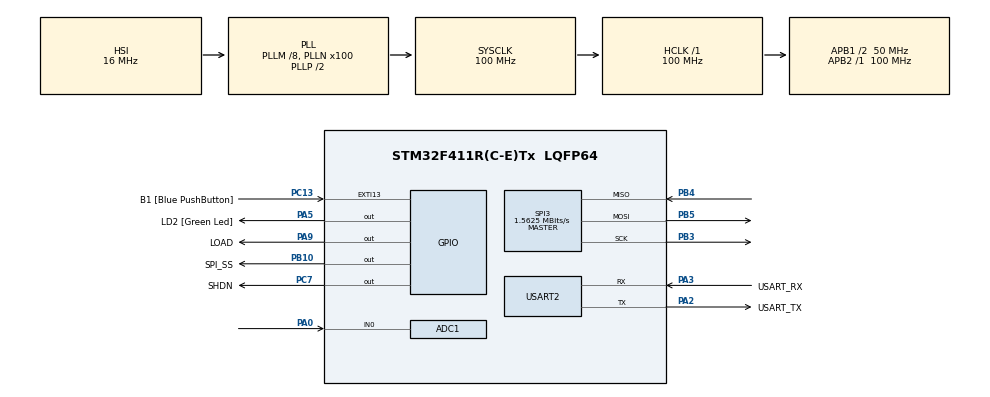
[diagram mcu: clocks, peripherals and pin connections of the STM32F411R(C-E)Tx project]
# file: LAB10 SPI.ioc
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Mcu.Family=STM32F4
RCC.CortexFreq_Value=100000000
SPI3.Direction=SPI_DIRECTION_2LINES
SPI3.VirtualType=VM_MASTER
PA14.GPIO_Label=TCK
RCC.SYSCLKSource=RCC_SYSCLKSOURCE_PLLCLK
ProjectManager.StackSize=0x400
NVIC.ADC_IRQn=true\:0\:0\:false\:false\:true\:true\:true
PH0\ -\ OSC_IN.Signal=RCC_OSC_IN
RCC.HCLKFreq_Value=100000000
RCC.APB2TimFreq_Value=100000000
TIM3.Period=100
Dma.ADC1.0.Direction=DMA_PERIPH_TO_MEMORY
PC7.Signal=GPIO_Output
NVIC.DMA2_Stream0_IRQn=true\:0\:0\:false\:false\:true\:false\:true
Dma.ADC1.0.MemDataAlignment=DMA_MDATAALIGN_HALFWORD
RCC.AHBFreq_Value=100000000
SPI3.DataSize=SPI_DATASIZE_16BIT
ADC1.Channel-0\#ChannelRegularConversion=ADC_CHANNEL_0
RCC.HSE_VALUE=8000000
PB3.Mode=Full_Duplex_Master
PC13-ANTI_TAMP.Signal=GPXTI13
PB4.Mode=Full_Duplex_Master
PC14-OSC32_IN.Mode=LSE-External-Oscillator
PA14.Mode=Serial_Wire
TIM3.Prescaler=99
Dma.ADC1.0.PeriphInc=DMA_PINC_DISABLE
PB5.Mode=Full_Duplex_Master
SH.ADCx_IN0.0=ADC1_IN0,IN0
ADC1.SamplingTime-0\#ChannelRegularConversion=ADC_SAMPLETIME_3CYCLES
RCC.FLatency-AdvancedSettings=FLASH_LATENCY_3
Mcu.Package=LQFP64
TIM2.Prescaler=99
SPI3.Mode=SPI_MODE_MASTER
USART2.VirtualMode=VM_ASYNC
PA2.GPIO_Label=USART_TX
NVIC.SPI3_IRQn=true\:0\:0\:false\:false\:true\:true\:true
RCC.APB1TimFreq_Value=100000000
Dma.ADC1.0.FIFOMode=DMA_FIFOMODE_DISABLE
Dma.Request0=ADC1
VP_TIM3_VS_ClockSourceINT.Mode=Internal
PB4.Signal=SPI3_MISO
PA3.Signal=USART2_RX
PC15-OSC32_OUT.Mode=LSE-External-Oscillator
Dma.ADC1.0.Instance=DMA2_Stream0
ADC1.Rank-0\#ChannelRegularConversion=1
PC13-ANTI_TAMP.GPIO_Label=B1 [Blue PushButton]
PA9.GPIO_Label=LOAD
PH1\ -\ OSC_OUT.Mode=HSE-External-Clock-Source
RCC.APB1CLKDivider=RCC_HCLK_DIV2
PC14-OSC32_IN.Signal=RCC_OSC32_IN
NVIC.USART2_IRQn=true\:0\:0\:false\:false\:true\:true\:true
PA0-WKUP.Signal=ADCx_IN0
PA13.Signal=SYS_JTMS-SWDIO
PA3.Mode=Asynchronous
Dma.ADC1.0.PeriphDataAlignment=DMA_PDATAALIGN_HALFWORD
PH0\ -\ OSC_IN.Mode=HSE-External-Clock-Source
ProjectManager.TargetToolchain=STM32CubeIDE
PB10.GPIO_Label=SPI_SS
Dma.ADC1.0.Mode=DMA_CIRCULAR
Dma.ADC1.0.Priority=DMA_PRIORITY_LOW
PA9.Signal=GPIO_Output
PC15-OSC32_OUT.Signal=RCC_OSC32_OUT
PB10.Signal=GPIO_Output
PA5.Signal=GPIO_Output
PH1\ -\ OSC_OUT.Signal=RCC_OSC_OUT
board=NUCLEO-F411RE
RCC.VCOOutputFreq_Value=200000000
RCC.APB2Freq_Value=100000000
SPI3.CalculateBaudRate=1.5625 MBits/s
VP_TIM2_VS_ClockSourceINT.Mode=Internal
SPI3.BaudRatePrescaler=SPI_BAUDRATEPRESCALER_32
PA13.Mode=Serial_Wire
Mcu.Name=STM32F411R(C-E)Tx
PA13.GPIO_Label=TMS
PA2.Signal=USART2_TX
PC7.GPIO_Label=SHDN
RCC.48MHZClocksFreq_Value=50000000
PB3.Signal=SPI3_SCK
RCC.SYSCLKFreq_VALUE=100000000
PB5.Signal=SPI3_MOSI
ADC1.master=1
PA5.GPIO_Label=LD2 [Green Led]
PC13-ANTI_TAMP.GPIO_ModeDefaultEXTI=GPIO_MODE_IT_FALLING
PA14.Signal=SYS_JTCK-SWCLK
Dma.ADC1.0.MemInc=DMA_MINC_ENABLE
ProjectManager.HeapSize=0x200
RCC.HSI_VALUE=16000000
NVIC.PriorityGroup=NVIC_PRIORITYGROUP_0
ADC1.NbrOfConversionFlag=1
RCC.PLLM=8
RCC.PLLN=100
PA2.Mode=Asynchronous
RCC.APB1Freq_Value=50000000
PA3.GPIO_Label=USART_RX

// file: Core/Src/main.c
/* USER CODE BEGIN Header */
/**
 ******************************************************************************
 * @file           : main.c
 * @brief          : Main program body
 ******************************************************************************
 * @attention
 *
 * <h2><center>&copy; Copyright (c) 2021 STMicroelectronics.
 * All rights reserved.</center></h2>
 *
 * This software component is licensed by ST under BSD 3-Clause license,
 * the "License"; You may not use this file except in compliance with the
 * License. You may obtain a copy of the License at:
 *                        opensource.org/licenses/BSD-3-Clause
 *
 ******************************************************************************
 */
/* USER CODE END Header */
#include "main.h"

/* USER CODE BEGIN Includes */
#include <math.h>
#include <stdio.h>
#include <string.h>
/* USER CODE END Includes */

ADC_HandleTypeDef hadc1;
DMA_HandleTypeDef hdma_adc1;

SPI_HandleTypeDef hspi3;

TIM_HandleTypeDef htim2;
TIM_HandleTypeDef htim3;

UART_HandleTypeDef huart2;

/* USER CODE BEGIN PV */

char RxDataBuffer[32] = { 0 };
int state = 0;
double Frequency = 1.0;
double High = 3.3; //max 3.3 V
double Low = 0.0; //min 0 V
int DutyCycle = 100;
int Slope = 0;
int WaveForm = 0;
double WaveGenOut = 0.0;
double Theta = 0;
int check = 0;
int check2 = 0;

char Word1[] = {" Choose Wave Form\r\n SawTooth Wave : Press a\r\n Sine Wave : Press b\r\n Square : Press c \r\n"};
char Word2[] = {" SawTooth Wave Menu\r\n Set Frequency : Press f\r\n Set Highest Voltage : Press h\r\n Set Lowest Voltage : Press l\r\n Set Slope : Press s\r\n Back : Press x\r\n"};
char Word3[] = {" Sine Wave Menu\r\n Set Frequency : Press f\r\n Set Highest Voltage : Press h\r\n Set Lowest Voltage : Press l\r\n Back : Press x\r\n"};
char Word4[] = {" Square Wave Menu\r\n Set Frequency : Press f\r\n Set Highest Voltage : Press h\r\n Set Lowest Voltage : Press l\r\n Set Duty Cycle : Press d\r\n Back : Press x\r\n"};
char Word5[] = {" Set Frequency Menu\r\n Increase Frequency 0.1Hz : Press +\r\n Decrease Frequency 0.1Hz : Press -\r\n Back : Press x\r\n"};
char Word6[] = {" Set Highest Voltage Menu\r\n Increase Highest Voltage 0.1V : Press +\r\n Decrease Highest Voltage 0.1V : Press -\r\n Back : Press x\r\n"};
char Word7[] = {" Set Lowest Voltage Menu\r\n Increase Lowest Voltage 0.1V : Press +\r\n Decrease Lowest Voltage 0.1V : Press -\r\n Back : Press x\r\n"};
char Word8[] = {" Set Slope Menu\r\n Slope Up : Press 1\r\n Slope Down : Press 2\r\n Back : Press x\r\n"};
char Word9[] = {" Set Duty Cycle\r\n Increase Duty Cycle For 5% : Press +\r\n Decrease Duty Cycle For 5% : Press -\r\n Back : Press x\r\n"};
char Word11[] = {" Slope Up | Increasing Slope\r\n"};
char Word12[] = {" Slope Down | Decreasing Slope\r\n"};
char Word13[] = {" Back\r\n"};
char WordError[] = {"Error : Highest Voltage Can't Less Than Lowest Voltage\r\n"};

char ShowFrequency[32] = {0}; //Frequency
char ShowDutyCycle[32] = {0}; //Duty cycle
char ShowVoltage[64] = {0}; //High | Low

uint16_t ADCin = 0;
uint64_t _micro = 0;
uint16_t dataOut = 0;
uint8_t DACConfig = 0b0011;
/* USER CODE END PV */

void SystemClock_Config(void);
static void MX_GPIO_Init(void);
static void MX_DMA_Init(void);
static void MX_USART2_UART_Init(void);
static void MX_SPI3_Init(void);
static void MX_ADC1_Init(void);
static void MX_TIM3_Init(void);
static void MX_TIM2_Init(void);
/* USER CODE BEGIN PFP */

int16_t UARTRecieveIT();
void MCP4922SetOutput(uint8_t Config, uint16_t DACOutput);
uint64_t micros();

/* USER CODE END PFP */

int main(void)
{

  /* MCU Configuration--------------------------------------------------------*/

  /* Reset of all peripherals, Initializes the Flash interface and the Systick. */
  HAL_Init();

  /* Configure the system clock */
  SystemClock_Config();

  /* Initialize all configured peripherals */
  MX_GPIO_Init();
  MX_DMA_Init();
  MX_USART2_UART_Init();
  MX_SPI3_Init();
  MX_ADC1_Init();
  MX_TIM3_Init();
  MX_TIM2_Init();
  /* USER CODE BEGIN 2 */

	HAL_TIM_Base_Start(&htim3);
	HAL_TIM_Base_Start_IT(&htim2);
	HAL_ADC_Start_DMA(&hadc1, (uint32_t*) &ADCin, 1);

	HAL_GPIO_WritePin(LOAD_GPIO_Port, LOAD_Pin, GPIO_PIN_RESET);

  /* USER CODE END 2 */

  /* Infinite loop */
  /* USER CODE BEGIN WHILE */
	while (1)
	{

		HAL_UART_Receive_IT(&huart2,  (uint8_t*)RxDataBuffer, 32);
		int16_t inputchar = UARTRecieveIT();
		switch(state)
		{
			case 0: //menu
			{
				HAL_UART_Transmit(&huart2, (uint8_t*)Word1, strlen(Word1), 1000);
				state = 1;
				break;
			}
			case 1: //choose wave form
			{
				if(inputchar == 'a') //sawtooth wave
				{
					HAL_UART_Transmit(&huart2, (uint8_t*)Word2, strlen(Word2), 1000);
					state = 2;
					WaveForm = 1;
					break;
				}
				else if(inputchar == 'b') //sine wave
				{
					HAL_UART_Transmit(&huart2, (uint8_t*)Word3, strlen(Word3), 1000);
					state = 3;
					WaveForm = 2;
					break;
				}
				else if(inputchar == 'c') //square wave
				{
					HAL_UART_Transmit(&huart2, (uint8_t*)Word4, strlen(Word4), 1000);
					state = 4;
					WaveForm = 3;
					break;
				}
				break;
			}
			case 2: //sawtooth wave menu
			{
				if(inputchar == 'f') //frequency
				{
					state = 5;
					HAL_UART_Transmit(&huart2, (uint8_t*)Word5, strlen(Word5), 1000);
					break;
				}
				else if(inputchar == 'h') //set high
				{
					state = 6;
					HAL_UART_Transmit(&huart2, (uint8_t*)Word6, strlen(Word6), 1000);
					break;
				}
				else if(inputchar == 'l') //set low
				{
					state = 7;
					HAL_UART_Transmit(&huart2, (uint8_t*)Word7, strlen(Word7), 1000);
					break;
				}
				else if(inputchar == 's') //slope
				{
					state = 8;
					HAL_UART_Transmit(&huart2, (uint8_t*)Word8, strlen(Word8), 1000);
					break;
				}
				else if(inputchar == 'x') //back
				{
					state = 0;
					HAL_UART_Transmit(&huart2, (uint8_t*)Word13, strlen(Word13), 1000);
					break;
				}
				break;
			}
			case 3: //sine wave menu
			{
				if(inputchar == 'f') //frequency
				{
					state = 5;
					HAL_UART_Transmit(&huart2, (uint8_t*)Word5, strlen(Word5), 1000);
					break;
				}
				else if(inputchar == 'h') //set high
				{
					state = 6;
					HAL_UART_Transmit(&huart2, (uint8_t*)Word6, strlen(Word6), 1000);
					break;
				}
				else if(inputchar == 'l') //set low
				{
					state = 7;
					HAL_UART_Transmit(&huart2, (uint8_t*)Word7, strlen(Word7), 1000);
					break;
				}
				else if(inputchar == 'x') //back
				{
					state = 0;
					HAL_UART_Transmit(&huart2, (uint8_t*)Word13, strlen(Word13), 1000);
					break;
				}
				break;
			}
			case 4: //square wave menu
			{
				if(inputchar == 'f') //frequency
				{
					state = 5;
					HAL_UART_Transmit(&huart2, (uint8_t*)Word5, strlen(Word5), 1000);
					break;
				}
				else if(inputchar == 'h') //set high
				{
					state = 6;
					HAL_UART_Transmit(&huart2, (uint8_t*)Word6, strlen(Word6), 1000);
					break;
				}
				else if(inputchar == 'l') //set low
				{
					state = 7;
					HAL_UART_Transmit(&huart2, (uint8_t*)Word7, strlen(Word7), 1000);
					break;
				}
				else if(inputchar == 'd') //duty cycle
				{
					state = 9;
					HAL_UART_Transmit(&huart2, (uint8_t*)Word9, strlen(Word9), 1000);
					break;
				}
				else if(inputchar == 'x') //back
				{
					state = 0;
					HAL_UART_Transmit(&huart2, (uint8_t*)Word13, strlen(Word13), 1000);
					break;
				}
				break;
			}
			case 5: //frequency menu
			{
				if(inputchar == '+')
				{
					Frequency += 0.1;
					if(Frequency > 10)
					{
						Frequency = 10;
					}
					sprintf(ShowFrequency, "Current Frequency : %f Hz\r\n", Frequency);
					HAL_UART_Transmit(&huart2, (uint8_t*)ShowFrequency, strlen(ShowFrequency), 1000);
					break;
				}
				else if(inputchar == '-')
				{
					Frequency -= 0.1;
					if(Frequency < 0)
					{
						Frequency = 0;
					}
					sprintf(ShowFrequency, "Current Frequency : %f Hz\r\n", Frequency);
					HAL_UART_Transmit(&huart2, (uint8_t*)ShowFrequency, strlen(ShowFrequency), 1000);
					break;
				}
				else if(inputchar == 'x') //back
				{
					if(WaveForm == 1)
					{
						state = 2;
						HAL_UART_Transmit(&huart2, (uint8_t*)Word13, strlen(Word13), 1000);
						HAL_UART_Transmit(&huart2, (uint8_t*)Word2, strlen(Word2), 1000);
					}
					else if(WaveForm == 2)
					{
						state = 3;
						HAL_UART_Transmit(&huart2, (uint8_t*)Word13, strlen(Word13), 1000);
						HAL_UART_Transmit(&huart2, (uint8_t*)Word3, strlen(Word3), 1000);
					}
					if(WaveForm == 3)
					{
						state = 4;
						HAL_UART_Transmit(&huart2, (uint8_t*)Word13, strlen(Word13), 1000);
						HAL_UART_Transmit(&huart2, (uint8_t*)Word4, strlen(Word4), 1000);
					}
					break;
				}
				break;
			}
			case 6: //high menu
			{
				if(inputchar == '+')
				{
					High += 0.1;
					if(High > 3.3)
					{
						High = 3.3;
					}
					sprintf(ShowVoltage, " High Voltage : %f V | Low Voltage : %f V  \r\n" , High , Low);
					HAL_UART_Transmit(&huart2, (uint8_t*)ShowVoltage, strlen(ShowVoltage), 1000);
					break;
				}
				else if(inputchar == '-')
				{
					High -= 0.1;
					if(High < 0)
					{
						High = 0;
					}
					if(High < Low)
					{
						High += 0.1;
						HAL_UART_Transmit(&huart2, (uint8_t*)WordError, strlen(WordError), 1000);
					}
					sprintf(ShowVoltage, " High Voltage : %f V | Low Voltage : %f V \r\n" , High , Low);
					HAL_UART_Transmit(&huart2, (uint8_t*)ShowVoltage, strlen(ShowVoltage), 1000);
					break;
				}
				else if(inputchar == 'x') //back
				{
					if(WaveForm == 1)
					{
						state = 2;
						HAL_UART_Transmit(&huart2, (uint8_t*)Word13, strlen(Word13), 1000);
						HAL_UART_Transmit(&huart2, (uint8_t*)Word2, strlen(Word2), 1000);
					}
					else if(WaveForm == 2)
					{
						state = 3;
						HAL_UART_Transmit(&huart2, (uint8_t*)Word13, strlen(Word13), 1000);
						HAL_UART_Transmit(&huart2, (uint8_t*)Word3, strlen(Word3), 1000);
					}
					if(WaveForm == 3)
					{
						state = 4;
						HAL_UART_Transmit(&huart2, (uint8_t*)Word13, strlen(Word13), 1000);
						HAL_UART_Transmit(&huart2, (uint8_t*)Word4, strlen(Word4), 1000);
					}
					break;
				}
				break;
			}
			case 7: //low menu
			{
				if(inputchar == '+')
				{
					Low += 0.1;
					if(Low > High + 0.1)
					{
						Low -= 0.1;
						HAL_UART_Transmit(&huart2, (uint8_t*)WordError, strlen(WordError), 1000);
					}
					sprintf(ShowVoltage, " High Voltage : %f V | Low Voltage : %f V \r\n" , High , Low);
					HAL_UART_Transmit(&huart2, (uint8_t*)ShowVoltage, strlen(ShowVoltage), 1000);
					break;
				}
				else if(inputchar == '-')
				{
					Low -= 0.1;
					if(Low < 0)
					{
						Low = 0;
					}
					sprintf(ShowVoltage, " High Voltage : %f V | Low Voltage : %f V \r\n" , High , Low);
					HAL_UART_Transmit(&huart2, (uint8_t*)ShowVoltage, strlen(ShowVoltage), 1000);
					break;
				}
				else if(inputchar == 'x') //back
				{
					if(WaveForm == 1)
					{
						state = 2;
						HAL_UART_Transmit(&huart2, (uint8_t*)Word13, strlen(Word13), 1000);
						HAL_UART_Transmit(&huart2, (uint8_t*)Word2, strlen(Word2), 1000);
					}
					else if(WaveForm == 2)
					{
						state = 3;
						HAL_UART_Transmit(&huart2, (uint8_t*)Word13, strlen(Word13), 1000);
						HAL_UART_Transmit(&huart2, (uint8_t*)Word3, strlen(Word3), 1000);
					}
					if(WaveForm == 3)
					{
						state = 4;
						HAL_UART_Transmit(&huart2, (uint8_t*)Word13, strlen(Word13), 1000);
						HAL_UART_Transmit(&huart2, (uint8_t*)Word4, strlen(Word4), 1000);
					}
					break;
				}
				break;
			}
			case 8: //slope menu
			{
				if(inputchar == '1')
				{
					Slope = 1;
					HAL_UART_Transmit(&huart2, (uint8_t*)Word11, strlen(Word11), 1000);
					break;
				}
				else if(inputchar == '2')
				{
					Slope = 2;
					HAL_UART_Transmit(&huart2, (uint8_t*)Word12, strlen(Word12), 1000);
					break;
				}
				else if(inputchar == 'x') //back
				{
					state = 2;
					HAL_UART_Transmit(&huart2, (uint8_t*)Word13, strlen(Word13), 1000);
					HAL_UART_Transmit(&huart2, (uint8_t*)Word2, strlen(Word2), 1000);
					break;
				}
				break;
			}
			case 9: //duty cycle menu
			{
				if(inputchar == '+')
				{
					DutyCycle += 5;
					if(DutyCycle > 100)
					{
						DutyCycle = 100;
					}
					sprintf(ShowDutyCycle, "Duty Cycle : %d \r\n", DutyCycle);
					HAL_UART_Transmit(&huart2, (uint8_t*)ShowDutyCycle, strlen(ShowDutyCycle), 1000);
					break;
				}
				else if(inputchar == '-')
				{
					DutyCycle -= 5;
					if(DutyCycle < 0)
					{
						DutyCycle = 0;
					}
					sprintf(ShowDutyCycle, "Duty Cycle : %d \r\n", DutyCycle);
					HAL_UART_Transmit(&huart2, (uint8_t*)ShowDutyCycle, strlen(ShowDutyCycle), 1000);
					break;
				}
				else if(inputchar == 'x') //back
				{
					state = 4;
					HAL_UART_Transmit(&huart2, (uint8_t*)Word13, strlen(Word13), 1000);
					HAL_UART_Transmit(&huart2, (uint8_t*)Word4, strlen(Word4), 1000);
					break;
				}
				break;
			}
		}
		static uint64_t timestamp = 0;
		static uint64_t timestampGenWave = 0;

		if (micros() - timestamp > 100) //period 100uS -> frequency 10000 Hz # period(uS) don't forget to multi 10^6
		{
			if(WaveForm == 1) //sawtooth wave
			{
				if(Slope == 1) //Slope Up //from the beginning plus middle value that multiply time and divine period
				{
					if(micros() - timestampGenWave <= (1000000/Frequency))
					{
						WaveGenOut = Low + (High - Low)*(micros() - timestampGenWave)*Frequency/1000000;
					}
					else if(micros() - timestampGenWave > (1000000/Frequency))
					{
						timestampGenWave = micros();
					}
				}
				else if(Slope == 2) //Slope Down
				{
					if(micros() - timestampGenWave <= 1000000/Frequency)
					{
						WaveGenOut = High - (High - Low)*(micros() - timestampGenWave)*Frequency/1000000;
					}
					else if(micros() - timestampGenWave > 1000000/Frequency)
					{
						timestampGenWave = micros();
					}
				}
			}
			else if(WaveForm == 2) //sine wave // find theta that depend on time and frequency | give starter value and plus A*sin(theta)
			{
				if(micros() - timestampGenWave <= 1000000/Frequency)
				{
					Theta = -90 + 2*3.14*(micros() - timestampGenWave)*Frequency/1000000;
					WaveGenOut = ((High - Low)/2 + Low) + ((High - Low)/2)*sin(Theta);
				}
				else
				{
					timestampGenWave = micros();
				}
			}
			else if(WaveForm == 3) //square wave // in dutycycle = high | out of duty cycle = low
			{
				if(micros() - timestampGenWave > (1000000/Frequency))
				{
					timestampGenWave = micros();
				}
				else if(micros() - timestampGenWave <= (1000000/Frequency)*DutyCycle/100)
				{
					WaveGenOut = High;
				}
				else if(micros() - timestampGenWave > (1000000/Frequency)*DutyCycle/100)
				{
					WaveGenOut = Low;
				}
			}
			dataOut = ((WaveGenOut/3.3)*4096); //WaveGenOut Value is a Voltage value #devine by 3.3 and multiply 4096 to change to range of IC
			timestamp = micros();
			if (hspi3.State == HAL_SPI_STATE_READY && HAL_GPIO_ReadPin(SPI_SS_GPIO_Port, SPI_SS_Pin) == GPIO_PIN_SET)
			{
				MCP4922SetOutput(DACConfig, dataOut);
			}
		}

    /* USER CODE END WHILE */

	}
}

void SystemClock_Config(void)
{
  RCC_OscInitTypeDef RCC_OscInitStruct = {0};
  RCC_ClkInitTypeDef RCC_ClkInitStruct = {0};

  /** Configure the main internal regulator output voltage
  */
  __HAL_RCC_PWR_CLK_ENABLE();
  __HAL_PWR_VOLTAGESCALING_CONFIG(PWR_REGULATOR_VOLTAGE_SCALE1);
  /** Initializes the RCC Oscillators according to the specified parameters
  * in the RCC_OscInitTypeDef structure.
  */
  RCC_OscInitStruct.OscillatorType = RCC_OSCILLATORTYPE_HSI;
  RCC_OscInitStruct.HSIState = RCC_HSI_ON;
  RCC_OscInitStruct.HSICalibrationValue = RCC_HSICALIBRATION_DEFAULT;
  RCC_OscInitStruct.PLL.PLLState = RCC_PLL_ON;
  RCC_OscInitStruct.PLL.PLLSource = RCC_PLLSOURCE_HSI;
  RCC_OscInitStruct.PLL.PLLM = 8;
  RCC_OscInitStruct.PLL.PLLN = 100;
  RCC_OscInitStruct.PLL.PLLP = RCC_PLLP_DIV2;
  RCC_OscInitStruct.PLL.PLLQ = 4;
  if (HAL_RCC_OscConfig(&RCC_OscInitStruct) != HAL_OK)
  {
    Error_Handler();
  }
  /** Initializes the CPU, AHB and APB buses clocks
  */
  RCC_ClkInitStruct.ClockType = RCC_CLOCKTYPE_HCLK|RCC_CLOCKTYPE_SYSCLK
                              |RCC_CLOCKTYPE_PCLK1|RCC_CLOCKTYPE_PCLK2;
  RCC_ClkInitStruct.SYSCLKSource = RCC_SYSCLKSOURCE_PLLCLK;
  RCC_ClkInitStruct.AHBCLKDivider = RCC_SYSCLK_DIV1;
  RCC_ClkInitStruct.APB1CLKDivider = RCC_HCLK_DIV2;
  RCC_ClkInitStruct.APB2CLKDivider = RCC_HCLK_DIV1;

  if (HAL_RCC_ClockConfig(&RCC_ClkInitStruct, FLASH_LATENCY_3) != HAL_OK)
  {
    Error_Handler();
  }
}

static void MX_ADC1_Init(void)
{

  ADC_ChannelConfTypeDef sConfig = {0};

  /** Configure the global features of the ADC (Clock, Resolution, Data Alignment and number of conversion)
  */
  hadc1.Instance = ADC1;
  hadc1.Init.ClockPrescaler = ADC_CLOCK_SYNC_PCLK_DIV4;
  hadc1.Init.Resolution = ADC_RESOLUTION_12B;
  hadc1.Init.ScanConvMode = DISABLE;
  hadc1.Init.ContinuousConvMode = DISABLE;
  hadc1.Init.DiscontinuousConvMode = DISABLE;
  hadc1.Init.ExternalTrigConvEdge = ADC_EXTERNALTRIGCONVEDGE_NONE;
  hadc1.Init.ExternalTrigConv = ADC_SOFTWARE_START;
  hadc1.Init.DataAlign = ADC_DATAALIGN_RIGHT;
  hadc1.Init.NbrOfConversion = 1;
  hadc1.Init.DMAContinuousRequests = DISABLE;
  hadc1.Init.EOCSelection = ADC_EOC_SINGLE_CONV;
  if (HAL_ADC_Init(&hadc1) != HAL_OK)
  {
    Error_Handler();
  }
  /** Configure for the selected ADC regular channel its corresponding rank in the sequencer and its sample time.
  */
  sConfig.Channel = ADC_CHANNEL_0;
  sConfig.Rank = 1;
  sConfig.SamplingTime = ADC_SAMPLETIME_3CYCLES;
  if (HAL_ADC_ConfigChannel(&hadc1, &sConfig) != HAL_OK)
  {
    Error_Handler();
  }

}

static void MX_SPI3_Init(void)
{

  /* SPI3 parameter configuration*/
  hspi3.Instance = SPI3;
  hspi3.Init.Mode = SPI_MODE_MASTER;
  hspi3.Init.Direction = SPI_DIRECTION_2LINES;
  hspi3.Init.DataSize = SPI_DATASIZE_16BIT;
  hspi3.Init.CLKPolarity = SPI_POLARITY_LOW;
  hspi3.Init.CLKPhase = SPI_PHASE_1EDGE;
  hspi3.Init.NSS = SPI_NSS_SOFT;
  hspi3.Init.BaudRatePrescaler = SPI_BAUDRATEPRESCALER_32;
  hspi3.Init.FirstBit = SPI_FIRSTBIT_MSB;
  hspi3.Init.TIMode = SPI_TIMODE_DISABLE;
  hspi3.Init.CRCCalculation = SPI_CRCCALCULATION_DISABLE;
  hspi3.Init.CRCPolynomial = 10;
  if (HAL_SPI_Init(&hspi3) != HAL_OK)
  {
    Error_Handler();
  }

}

static void MX_TIM2_Init(void)
{

  TIM_ClockConfigTypeDef sClockSourceConfig = {0};
  TIM_MasterConfigTypeDef sMasterConfig = {0};

  htim2.Instance = TIM2;
  htim2.Init.Prescaler = 99;
  htim2.Init.CounterMode = TIM_COUNTERMODE_UP;
  htim2.Init.Period = 4294967295;
  htim2.Init.ClockDivision = TIM_CLOCKDIVISION_DIV1;
  htim2.Init.AutoReloadPreload = TIM_AUTORELOAD_PRELOAD_DISABLE;
  if (HAL_TIM_Base_Init(&htim2) != HAL_OK)
  {
    Error_Handler();
  }
  sClockSourceConfig.ClockSource = TIM_CLOCKSOURCE_INTERNAL;
  if (HAL_TIM_ConfigClockSource(&htim2, &sClockSourceConfig) != HAL_OK)
  {
    Error_Handler();
  }
  sMasterConfig.MasterOutputTrigger = TIM_TRGO_RESET;
  sMasterConfig.MasterSlaveMode = TIM_MASTERSLAVEMODE_DISABLE;
  if (HAL_TIMEx_MasterConfigSynchronization(&htim2, &sMasterConfig) != HAL_OK)
  {
    Error_Handler();
  }

}

static void MX_TIM3_Init(void)
{

  TIM_ClockConfigTypeDef sClockSourceConfig = {0};
  TIM_MasterConfigTypeDef sMasterConfig = {0};

  htim3.Instance = TIM3;
  htim3.Init.Prescaler = 99;
  htim3.Init.CounterMode = TIM_COUNTERMODE_UP;
  htim3.Init.Period = 100;
  htim3.Init.ClockDivision = TIM_CLOCKDIVISION_DIV1;
  htim3.Init.AutoReloadPreload = TIM_AUTORELOAD_PRELOAD_DISABLE;
  if (HAL_TIM_Base_Init(&htim3) != HAL_OK)
  {
    Error_Handler();
  }
  sClockSourceConfig.ClockSource = TIM_CLOCKSOURCE_INTERNAL;
  if (HAL_TIM_ConfigClockSource(&htim3, &sClockSourceConfig) != HAL_OK)
  {
    Error_Handler();
  }
  sMasterConfig.MasterOutputTrigger = TIM_TRGO_RESET;
  sMasterConfig.MasterSlaveMode = TIM_MASTERSLAVEMODE_DISABLE;
  if (HAL_TIMEx_MasterConfigSynchronization(&htim3, &sMasterConfig) != HAL_OK)
  {
    Error_Handler();
  }

}

static void MX_USART2_UART_Init(void)
{

  huart2.Instance = USART2;
  huart2.Init.BaudRate = 115200;
  huart2.Init.WordLength = UART_WORDLENGTH_8B;
  huart2.Init.StopBits = UART_STOPBITS_1;
  huart2.Init.Parity = UART_PARITY_NONE;
  huart2.Init.Mode = UART_MODE_TX_RX;
  huart2.Init.HwFlowCtl = UART_HWCONTROL_NONE;
  huart2.Init.OverSampling = UART_OVERSAMPLING_16;
  if (HAL_UART_Init(&huart2) != HAL_OK)
  {
    Error_Handler();
  }

}

static void MX_DMA_Init(void)
{

  /* DMA controller clock enable */
  __HAL_RCC_DMA2_CLK_ENABLE();

  /* DMA interrupt init */
  /* DMA2_Stream0_IRQn interrupt configuration */
  HAL_NVIC_SetPriority(DMA2_Stream0_IRQn, 0, 0);
  HAL_NVIC_EnableIRQ(DMA2_Stream0_IRQn);

}

static void MX_GPIO_Init(void)
{
  GPIO_InitTypeDef GPIO_InitStruct = {0};

  /* GPIO Ports Clock Enable */
  __HAL_RCC_GPIOC_CLK_ENABLE();
  __HAL_RCC_GPIOH_CLK_ENABLE();
  __HAL_RCC_GPIOA_CLK_ENABLE();
  __HAL_RCC_GPIOB_CLK_ENABLE();

  /*Configure GPIO pin Output Level */
  HAL_GPIO_WritePin(GPIOA, LD2_Pin|LOAD_Pin, GPIO_PIN_RESET);

  /*Configure GPIO pin Output Level */
  HAL_GPIO_WritePin(SPI_SS_GPIO_Port, SPI_SS_Pin, GPIO_PIN_RESET);

  /*Configure GPIO pin Output Level */
  HAL_GPIO_WritePin(SHDN_GPIO_Port, SHDN_Pin, GPIO_PIN_RESET);

  /*Configure GPIO pin : B1_Pin */
  GPIO_InitStruct.Pin = B1_Pin;
  GPIO_InitStruct.Mode = GPIO_MODE_IT_FALLING;
  GPIO_InitStruct.Pull = GPIO_NOPULL;
  HAL_GPIO_Init(B1_GPIO_Port, &GPIO_InitStruct);

  /*Configure GPIO pins : LD2_Pin LOAD_Pin */
  GPIO_InitStruct.Pin = LD2_Pin|LOAD_Pin;
  GPIO_InitStruct.Mode = GPIO_MODE_OUTPUT_PP;
  GPIO_InitStruct.Pull = GPIO_NOPULL;
  GPIO_InitStruct.Speed = GPIO_SPEED_FREQ_LOW;
  HAL_GPIO_Init(GPIOA, &GPIO_InitStruct);

  /*Configure GPIO pin : SPI_SS_Pin */
  GPIO_InitStruct.Pin = SPI_SS_Pin;
  GPIO_InitStruct.Mode = GPIO_MODE_OUTPUT_PP;
  GPIO_InitStruct.Pull = GPIO_NOPULL;
  GPIO_InitStruct.Speed = GPIO_SPEED_FREQ_LOW;
  HAL_GPIO_Init(SPI_SS_GPIO_Port, &GPIO_InitStruct);

  /*Configure GPIO pin : SHDN_Pin */
  GPIO_InitStruct.Pin = SHDN_Pin;
  GPIO_InitStruct.Mode = GPIO_MODE_OUTPUT_PP;
  GPIO_InitStruct.Pull = GPIO_NOPULL;
  GPIO_InitStruct.Speed = GPIO_SPEED_FREQ_LOW;
  HAL_GPIO_Init(SHDN_GPIO_Port, &GPIO_InitStruct);

}

/* USER CODE BEGIN 4 */
void MCP4922SetOutput(uint8_t Config, uint16_t DACOutput)
{
	uint32_t OutputPacket = (DACOutput & 0x0fff) | ((Config & 0xf) << 12);
	HAL_GPIO_WritePin(SPI_SS_GPIO_Port, SPI_SS_Pin, GPIO_PIN_RESET);
	HAL_SPI_Transmit_IT(&hspi3, &OutputPacket, 1);
}

void HAL_SPI_TxCpltCallback(SPI_HandleTypeDef *hspi)
{
	if (hspi == &hspi3)
	{
		HAL_GPIO_WritePin(SPI_SS_GPIO_Port, SPI_SS_Pin, GPIO_PIN_SET);
	}
}

void HAL_TIM_PeriodElapsedCallback(TIM_HandleTypeDef *htim)
{
	if (htim == &htim2)
	{
		_micro += 4294967295;
	}
}

int16_t UARTRecieveIT()
{
	static uint32_t dataPos =0;
	int16_t data=-1;
	if(huart2.RxXferSize - huart2.RxXferCount!=dataPos)
	{
		data=RxDataBuffer[dataPos];
		dataPos= (dataPos+1)%huart2.RxXferSize;
	}
	return data;
}

inline uint64_t micros()
{
	return htim2.Instance->CNT + _micro;
}
/* USER CODE END 4 */

void Error_Handler(void)
{
	__disable_irq();
	while (1)
	{
	}
}

/************************ (C) COPYRIGHT STMicroelectronics *****END OF FILE****/
